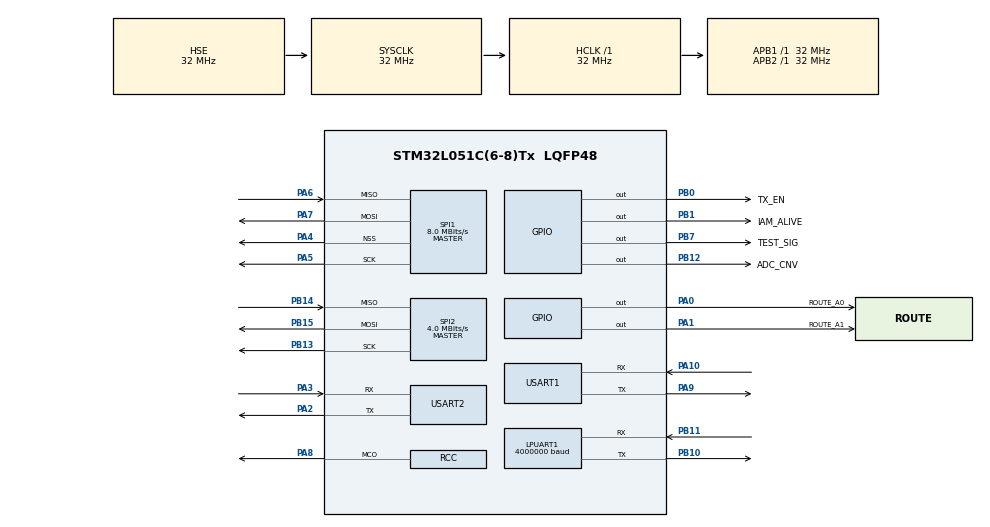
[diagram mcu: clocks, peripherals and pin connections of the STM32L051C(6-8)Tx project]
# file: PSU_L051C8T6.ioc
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LPUART1.BaudRate=4000000
LPUART1.StopBits=UART_STOPBITS_1
LPUART1.WordLength=UART_WORDLENGTH_8B
Mcu.Family=STM32L0
Mcu.Name=STM32L051C(6-8)Tx
Mcu.Package=LQFP48
NVIC.LPUART1_IRQn=true\:0\:0\:true\:false\:true\:true\:true\:true
NVIC.SPI2_IRQn=true\:0\:0\:true\:false\:true\:true\:true\:true
PA0.GPIO_Label=ROUTE_A0
PA0.GPIO_PuPd=GPIO_PULLUP
PA0.GPIO_Speed=GPIO_SPEED_FREQ_VERY_HIGH
PA0.Signal=GPIO_Output
PA1.GPIO_Label=ROUTE_A1
PA1.GPIO_PuPd=GPIO_PULLUP
PA1.GPIO_Speed=GPIO_SPEED_FREQ_VERY_HIGH
PA1.Signal=GPIO_Output
PA10.Mode=Asynchronous
PA10.Signal=USART1_RX
PA13.Mode=Serial_Wire
PA13.Signal=SYS_SWDIO
PA14.Mode=Serial_Wire
PA14.Signal=SYS_SWCLK
PA2.Mode=Asynchronous
PA2.Signal=USART2_TX
PA3.Mode=Asynchronous
PA3.Signal=USART2_RX
PA4.Mode=NSS_Signal_Hard_Output
PA4.Signal=SPI1_NSS
PA5.Mode=Full_Duplex_Master
PA5.Signal=SPI1_SCK
PA6.Mode=Full_Duplex_Master
PA6.Signal=SPI1_MISO
PA7.Mode=Full_Duplex_Master
PA7.Signal=SPI1_MOSI
PA8.Mode=Clock-out
PA8.Signal=RCC_MCO
PA9.Mode=Asynchronous
PA9.Signal=USART1_TX
PB0.GPIO_Label=TX_EN
PB0.GPIO_PuPd=GPIO_PULLUP
PB0.GPIO_Speed=GPIO_SPEED_FREQ_VERY_HIGH
PB0.PinState=GPIO_PIN_SET
PB0.Signal=GPIO_Output
PB1.GPIO_Label=IAM_ALIVE
PB1.GPIO_PuPd=GPIO_PULLUP
PB1.GPIO_Speed=GPIO_SPEED_FREQ_VERY_HIGH
PB1.Signal=GPIO_Output
PB10.Mode=Asynchronous
PB10.Signal=LPUART1_TX
PB11.Mode=Asynchronous
PB11.Signal=LPUART1_RX
PB12.GPIO_Label=ADC_CNV
PB12.GPIO_PuPd=GPIO_PULLUP
PB12.GPIO_Speed=GPIO_SPEED_FREQ_VERY_HIGH
PB12.Signal=GPIO_Output
PB13.Mode=Full_Duplex_Master
PB13.Signal=SPI2_SCK
PB14.Mode=Full_Duplex_Master
PB14.Signal=SPI2_MISO
PB15.Mode=Full_Duplex_Master
PB15.Signal=SPI2_MOSI
PB7.GPIO_FM7=__NULL
PB7.GPIO_Label=TEST_SIG
PB7.GPIO_PuPd=GPIO_NOPULL
PB7.GPIO_Speed=GPIO_SPEED_FREQ_VERY_HIGH
PB7.Signal=GPIO_Output
PC14-OSC32_IN.Mode=LSE-External-Oscillator
PC14-OSC32_IN.Signal=RCC_OSC32_IN
PC15-OSC32_OUT.Mode=LSE-External-Oscillator
PC15-OSC32_OUT.Signal=RCC_OSC32_OUT
PH0-OSC_IN.Mode=HSE-External-Clock-Source
PH0-OSC_IN.Signal=RCC_OSC_IN
ProjectManager.HeapSize=0x200
ProjectManager.StackSize=0x400
ProjectManager.TargetToolchain=STM32CubeIDE
RCC.AHBFreq_Value=32000000
RCC.APB1Freq_Value=32000000
RCC.APB1TimFreq_Value=32000000
RCC.APB2Freq_Value=32000000
RCC.APB2TimFreq_Value=32000000
RCC.HCLKFreq_Value=32000000
RCC.HSE_VALUE=32000000
RCC.HSI16_VALUE=16000000
RCC.HSI_VALUE=16000000
RCC.MSI_VALUE=2097000
RCC.PLLDIV=RCC_PLLDIV_3
RCC.PLLMUL=RCC_PLLMUL_6
RCC.PLLSourceVirtual=RCC_PLLSOURCE_HSE
RCC.SYSCLKFreq_VALUE=32000000
RCC.SYSCLKSource=RCC_SYSCLKSOURCE_HSE
RCC.VCOOutputFreq_Value=192000000
SPI1.BaudRatePrescaler=SPI_BAUDRATEPRESCALER_4
SPI1.CalculateBaudRate=8.0 MBits/s
SPI1.Direction=SPI_DIRECTION_2LINES
SPI1.Mode=SPI_MODE_MASTER
SPI1.VirtualNSS=VM_NSSHARD
SPI1.VirtualType=VM_MASTER
SPI2.BaudRatePrescaler=SPI_BAUDRATEPRESCALER_8
SPI2.CLKPhase=SPI_PHASE_1EDGE
SPI2.CLKPolarity=SPI_POLARITY_HIGH
SPI2.CalculateBaudRate=4.0 MBits/s
SPI2.DataSize=SPI_DATASIZE_16BIT
SPI2.Direction=SPI_DIRECTION_2LINES
SPI2.Mode=SPI_MODE_MASTER
SPI2.TIMode=SPI_TIMODE_DISABLE
SPI2.VirtualType=VM_MASTER
TIM6.AutoReloadPreload=TIM_AUTORELOAD_PRELOAD_DISABLE
TIM6.Period=1
TIM6.Prescaler=4-1
TIM6.TIM_MasterOutputTrigger=TIM_TRGO_RESET
USART1.VirtualMode-Asynchronous=VM_ASYNC
USART2.VirtualMode-Asynchronous=VM_ASYNC
VP_TIM6_VS_ClockSourceINT.Mode=Enable_Timer
board=custom

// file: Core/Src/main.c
/* USER CODE BEGIN Header */
/**
 ******************************************************************************
 * @file           : main.c
 * @brief          : Main program body
 ******************************************************************************
 * @attention
 *
 * Copyright (c) 2024 STMicroelectronics.
 * All rights reserved.
 *
 * This software is licensed under terms that can be found in the LICENSE file
 * in the root directory of this software component.
 * If no LICENSE file comes with this software, it is provided AS-IS.
 *
 ******************************************************************************
 */
/* USER CODE END Header */
#include "main.h"

/* USER CODE BEGIN Includes */
#include <string.h>
#include <stdio.h>
/* USER CODE END Includes */

UART_HandleTypeDef hlpuart1;
UART_HandleTypeDef huart1;
UART_HandleTypeDef huart2;

SPI_HandleTypeDef hspi1;
SPI_HandleTypeDef hspi2;

TIM_HandleTypeDef htim6;

/* USER CODE BEGIN PV */
uint16_t gSPI_Data;
uint16_t gSPI_Data1;
uint16_t gSPI_Data2;
uint8_t gPingPong_Flag = 0;

uint16_t gSPI_Buffer[1024];
int16_t gSPI_RdPtr = 0;
int16_t gSPI_WrPtr = 0;

uint16_t gSPI_RxCnt = 0;
uint8_t gSPI_RxDone = 0;
uint8_t gUART_TxDone = 1;

/* USER CODE END PV */

void SystemClock_Config(void);
static void MX_GPIO_Init(void);
static void MX_LPUART1_UART_Init(void);
static void MX_USART1_UART_Init(void);
static void MX_USART2_UART_Init(void);
static void MX_SPI1_Init(void);
static void MX_SPI2_Init(void);
static void MX_TIM6_Init(void);

/* USER CODE BEGIN 0 */
//Clock Pre-scale=8-1
//Clock Period=2
//(Main Clock) / (Clock Pre-scale) * (Clock Period)
//32MHz/8=4MHz.  (f=4MHz,t=250nS)
//500nS
void My_Delay_us(uint32_t nus) {
	uint16_t differ = 0xFFFF - nus - 5;
	__HAL_TIM_SetCounter(&htim6, differ);
	HAL_TIM_Base_Start(&htim6);
	while (differ < (0xFFFF - 5)) {
		differ = __HAL_TIM_GetCounter(&htim6);
	}
	HAL_TIM_Base_Stop(&htim6);
}

#define NOP_RATIO 1 //change by your demand.
void My_NOP_Delay(uint32_t cnt) {
	cnt = cnt * NOP_RATIO;
	while (cnt--) {
		__NOP();
	}
}

/* USER CODE END 0 */

int main(void)
{

  /* USER CODE BEGIN 1 */
	char buffer_string[128];
	int iSampleCnt=0;
  /* USER CODE END 1 */

  /* MCU Configuration--------------------------------------------------------*/

  /* Reset of all peripherals, Initializes the Flash interface and the Systick. */
  HAL_Init();

  /* Configure the system clock */
  SystemClock_Config();

  /* Initialize all configured peripherals */
  MX_GPIO_Init();
  MX_LPUART1_UART_Init();
  MX_USART1_UART_Init();
  MX_USART2_UART_Init();
  MX_SPI1_Init();
  MX_SPI2_Init();
  MX_TIM6_Init();
  /* USER CODE BEGIN 2 */
	//Fiber_UART  ---- FPGA 1# UART. (Infra-red Image Sensor)
	//            ---- FPGA 2# UART. (Visible-Light Image Sensor)
	//            ---- MCU LPUART1. (Photo-voltaic Cell: Power Supply Unit)
	//In TMR project, route Fiber_UART to MCU LPUART.
	HAL_GPIO_WritePin(GPIOA, ROUTE_A0_Pin | ROUTE_A1_Pin, GPIO_PIN_RESET);

	//Using PSU 1.8V to 3.3V Level Translator to dump data from Lattice 1.8V to TTL-USB(3.3V).
//	HAL_GPIO_WritePin(GPIOA, ROUTE_A1_Pin, GPIO_PIN_SET);
//	HAL_GPIO_WritePin(GPIOA, ROUTE_A0_Pin, GPIO_PIN_RESET);

	//IAM_ALIVE=1.
	HAL_GPIO_WritePin(GPIOB, IAM_ALIVE_Pin, GPIO_PIN_SET);
  /* USER CODE END 2 */

  /* Infinite loop */
  /* USER CODE BEGIN WHILE */
	//Step1: SDI (always keeps HIGH).
	uint16_t SDI_Data1 = 0xFFFF;
	//Transmit an amount of data in blocking mode.
	HAL_SPI_Transmit(&hspi2, (uint8_t*) &SDI_Data1, 1, 0xFFFF);
	HAL_Delay(1);

	//Enable Tx Power.
	HAL_GPIO_WritePin(TX_EN_GPIO_Port, TX_EN_Pin, GPIO_PIN_RESET);

#if 1
	while(1)
	{
		uint8_t i;
		//Step2: Pull up CNV to generate a rising edge.
		//HAL_GPIO_WritePin(GPIOB, ADC_CNV_Pin, GPIO_PIN_SET);
		GPIOB->BSRR |= ADC_CNV_Pin; //Using Register Operation replace of HAL library.

		//Step3: Waiting ADC Conversion time:>=9.5uS.
		//My_Delay_us(5); //HAL_Delay(1) Depreciated, it takes up much time.
		__NOP(); __NOP(); __NOP(); __NOP(); __NOP(); //2.2uS*5=11uS.
		//My_NOP_Delay(5);

		//Step4:Pull-down CNV, start to read data.
		//HAL_GPIO_WritePin(GPIOB, ADC_CNV_Pin, GPIO_PIN_RESET);
		GPIOB->BRR |= ADC_CNV_Pin; //Using Register Operation replace of HAL library.
		//My_Delay_us(1); //HAL_Delay(1) Depreciated, it takes up much time.
		//__NOP();
		//My_NOP_Delay(1);

		//Step5: Read Data In.
		//HAL_SPI_Receive_IT(&hspi2,(uint8_t*)gBuffer_SPI,1);
		//HAL_SPI_TransmitReceive_IT(SPI_HandleTypeDef *hspi, uint8_t *pTxData, uint8_t *pRxData, uint16_t Size)
		//HAL_SPI_TransmitReceive_IT(&hspi2, ///<
		//		(uint8_t*) &SDI_Data1, ///<
		//		(uint8_t*) &gSPI_Buffer1[gSPI_WrPtr1++], ///<
		//		2);
		hspi2.Instance->DR=0xFFFF; //MOSI keeps HIGH while reading MISO.
		while(!(hspi2.Instance->SR & SPI_FLAG_RXNE))
		{
			//Waiting for Receive Buffer Not Empty.
		}
		//gSPI_Buffer[gSPI_WrPtr]=hspi2.Instance->DR; //Read
		//gSPI_WrPtr=(gSPI_WrPtr>=1023)?(0):(gSPI_WrPtr++); //Loop buffer to avoid overflow.
		gSPI_Data=hspi2.Instance->DR; //Read

		//Test Code.
//		buffer_string[0]=0x20;
//		buffer_string[1]=0x24;
//		buffer_string[2]=0x08;
//		buffer_string[3]=0x06;
//		buffer_string[4]=0x16;
//		buffer_string[5]=0x33;
//		buffer_string[6]=0x11;
		iSampleCnt++;
		sprintf((char*)buffer_string,"%s, ADC:%d, CNT: %d\r\n","Technology Leading The World",gSPI_Data,iSampleCnt);
		for(i=0;i<strlen(buffer_string);i++)
		{
			hlpuart1.Instance->TDR=buffer_string[i];
			//Waiting for Transmit Data Register Empty.
			while(!(hlpuart1.Instance->ISR & USART_ISR_TXE))
			{}
		}
		HAL_Delay(10);

		/*
		//Using sprintf().
		//sprintf((char*)buffer_string,"$%d;",gSPI_Data);
		for(i=0;i<strlen(buffer_string);i++)
		{
			hlpuart1.Instance->TDR=buffer_string[i];
			//Waiting for Transmit Data Register Empty.
			while(!(hlpuart1.Instance->ISR & USART_ISR_TXE))
			{}
		}
		*/
#if 0
		//Transmit $(0x24) Symbol.
		hlpuart1.Instance->TDR='$';
		//Waiting for Transmit Data Register Empty.
		while(!(hlpuart1.Instance->ISR & USART_ISR_TXE))
		{}

		//Transmit 16-bits ADC Data - HIGH Byte.
		hlpuart1.Instance->TDR=(gSPI_Data>>8);
		//Waiting for Transmit Data Register Empty.
		while(!(hlpuart1.Instance->ISR & USART_ISR_TXE))
		{}

		//Transmit 16-bits ADC Data - LOW Byte.
		hlpuart1.Instance->TDR=(gSPI_Data&0x00FF);
		//Waiting for Transmit Data Register Empty.
		while(!(hlpuart1.Instance->ISR & USART_ISR_TXE))
		{}

		//Transmit ;(0x3B) Symbol.
		hlpuart1.Instance->TDR='!';
		//Waiting for Transmit Data Register Empty.
		while(!(hlpuart1.Instance->ISR & USART_ISR_TXE))
		{}
#endif
	}
#endif

    /* USER CODE END WHILE */

}

void SystemClock_Config(void)
{
  RCC_OscInitTypeDef RCC_OscInitStruct = {0};
  RCC_ClkInitTypeDef RCC_ClkInitStruct = {0};
  RCC_PeriphCLKInitTypeDef PeriphClkInit = {0};

  /** Configure the main internal regulator output voltage
  */
  __HAL_PWR_VOLTAGESCALING_CONFIG(PWR_REGULATOR_VOLTAGE_SCALE1);

  /** Initializes the RCC Oscillators according to the specified parameters
  * in the RCC_OscInitTypeDef structure.
  */
  RCC_OscInitStruct.OscillatorType = RCC_OSCILLATORTYPE_HSE;
  RCC_OscInitStruct.HSEState = RCC_HSE_BYPASS;
  RCC_OscInitStruct.PLL.PLLState = RCC_PLL_NONE;
  if (HAL_RCC_OscConfig(&RCC_OscInitStruct) != HAL_OK)
  {
    Error_Handler();
  }

  /** Initializes the CPU, AHB and APB buses clocks
  */
  RCC_ClkInitStruct.ClockType = RCC_CLOCKTYPE_HCLK|RCC_CLOCKTYPE_SYSCLK
                              |RCC_CLOCKTYPE_PCLK1|RCC_CLOCKTYPE_PCLK2;
  RCC_ClkInitStruct.SYSCLKSource = RCC_SYSCLKSOURCE_HSE;
  RCC_ClkInitStruct.AHBCLKDivider = RCC_SYSCLK_DIV1;
  RCC_ClkInitStruct.APB1CLKDivider = RCC_HCLK_DIV1;
  RCC_ClkInitStruct.APB2CLKDivider = RCC_HCLK_DIV1;

  if (HAL_RCC_ClockConfig(&RCC_ClkInitStruct, FLASH_LATENCY_1) != HAL_OK)
  {
    Error_Handler();
  }
  PeriphClkInit.PeriphClockSelection = RCC_PERIPHCLK_USART1|RCC_PERIPHCLK_USART2
                              |RCC_PERIPHCLK_LPUART1;
  PeriphClkInit.Usart1ClockSelection = RCC_USART1CLKSOURCE_PCLK2;
  PeriphClkInit.Usart2ClockSelection = RCC_USART2CLKSOURCE_PCLK1;
  PeriphClkInit.Lpuart1ClockSelection = RCC_LPUART1CLKSOURCE_PCLK1;
  if (HAL_RCCEx_PeriphCLKConfig(&PeriphClkInit) != HAL_OK)
  {
    Error_Handler();
  }
  HAL_RCC_MCOConfig(RCC_MCO1, RCC_MCO1SOURCE_SYSCLK, RCC_MCODIV_1);
}

static void MX_LPUART1_UART_Init(void)
{

  hlpuart1.Instance = LPUART1;
  hlpuart1.Init.BaudRate = 4000000;
  hlpuart1.Init.WordLength = UART_WORDLENGTH_8B;
  hlpuart1.Init.StopBits = UART_STOPBITS_1;
  hlpuart1.Init.Parity = UART_PARITY_NONE;
  hlpuart1.Init.Mode = UART_MODE_TX_RX;
  hlpuart1.Init.HwFlowCtl = UART_HWCONTROL_NONE;
  hlpuart1.Init.OneBitSampling = UART_ONE_BIT_SAMPLE_DISABLE;
  hlpuart1.AdvancedInit.AdvFeatureInit = UART_ADVFEATURE_NO_INIT;
  if (HAL_UART_Init(&hlpuart1) != HAL_OK)
  {
    Error_Handler();
  }

}

static void MX_USART1_UART_Init(void)
{

  huart1.Instance = USART1;
  huart1.Init.BaudRate = 115200;
  huart1.Init.WordLength = UART_WORDLENGTH_8B;
  huart1.Init.StopBits = UART_STOPBITS_1;
  huart1.Init.Parity = UART_PARITY_NONE;
  huart1.Init.Mode = UART_MODE_TX_RX;
  huart1.Init.HwFlowCtl = UART_HWCONTROL_NONE;
  huart1.Init.OverSampling = UART_OVERSAMPLING_16;
  huart1.Init.OneBitSampling = UART_ONE_BIT_SAMPLE_DISABLE;
  huart1.AdvancedInit.AdvFeatureInit = UART_ADVFEATURE_NO_INIT;
  if (HAL_UART_Init(&huart1) != HAL_OK)
  {
    Error_Handler();
  }

}

static void MX_USART2_UART_Init(void)
{

  huart2.Instance = USART2;
  huart2.Init.BaudRate = 115200;
  huart2.Init.WordLength = UART_WORDLENGTH_8B;
  huart2.Init.StopBits = UART_STOPBITS_1;
  huart2.Init.Parity = UART_PARITY_NONE;
  huart2.Init.Mode = UART_MODE_TX_RX;
  huart2.Init.HwFlowCtl = UART_HWCONTROL_NONE;
  huart2.Init.OverSampling = UART_OVERSAMPLING_16;
  huart2.Init.OneBitSampling = UART_ONE_BIT_SAMPLE_DISABLE;
  huart2.AdvancedInit.AdvFeatureInit = UART_ADVFEATURE_NO_INIT;
  if (HAL_UART_Init(&huart2) != HAL_OK)
  {
    Error_Handler();
  }

}

static void MX_SPI1_Init(void)
{

  /* SPI1 parameter configuration*/
  hspi1.Instance = SPI1;
  hspi1.Init.Mode = SPI_MODE_MASTER;
  hspi1.Init.Direction = SPI_DIRECTION_2LINES;
  hspi1.Init.DataSize = SPI_DATASIZE_8BIT;
  hspi1.Init.CLKPolarity = SPI_POLARITY_LOW;
  hspi1.Init.CLKPhase = SPI_PHASE_1EDGE;
  hspi1.Init.NSS = SPI_NSS_HARD_OUTPUT;
  hspi1.Init.BaudRatePrescaler = SPI_BAUDRATEPRESCALER_4;
  hspi1.Init.FirstBit = SPI_FIRSTBIT_MSB;
  hspi1.Init.TIMode = SPI_TIMODE_DISABLE;
  hspi1.Init.CRCCalculation = SPI_CRCCALCULATION_DISABLE;
  hspi1.Init.CRCPolynomial = 7;
  if (HAL_SPI_Init(&hspi1) != HAL_OK)
  {
    Error_Handler();
  }

}

static void MX_SPI2_Init(void)
{

  /* SPI2 parameter configuration*/
  hspi2.Instance = SPI2;
  hspi2.Init.Mode = SPI_MODE_MASTER;
  hspi2.Init.Direction = SPI_DIRECTION_2LINES;
  hspi2.Init.DataSize = SPI_DATASIZE_16BIT;
  hspi2.Init.CLKPolarity = SPI_POLARITY_HIGH;
  hspi2.Init.CLKPhase = SPI_PHASE_1EDGE;
  hspi2.Init.NSS = SPI_NSS_SOFT;
  hspi2.Init.BaudRatePrescaler = SPI_BAUDRATEPRESCALER_8;
  hspi2.Init.FirstBit = SPI_FIRSTBIT_MSB;
  hspi2.Init.TIMode = SPI_TIMODE_DISABLE;
  hspi2.Init.CRCCalculation = SPI_CRCCALCULATION_DISABLE;
  hspi2.Init.CRCPolynomial = 7;
  if (HAL_SPI_Init(&hspi2) != HAL_OK)
  {
    Error_Handler();
  }

}

static void MX_TIM6_Init(void)
{

  TIM_MasterConfigTypeDef sMasterConfig = {0};

  htim6.Instance = TIM6;
  htim6.Init.Prescaler = 4-1;
  htim6.Init.CounterMode = TIM_COUNTERMODE_UP;
  htim6.Init.Period = 1;
  htim6.Init.AutoReloadPreload = TIM_AUTORELOAD_PRELOAD_DISABLE;
  if (HAL_TIM_Base_Init(&htim6) != HAL_OK)
  {
    Error_Handler();
  }
  sMasterConfig.MasterOutputTrigger = TIM_TRGO_RESET;
  sMasterConfig.MasterSlaveMode = TIM_MASTERSLAVEMODE_DISABLE;
  if (HAL_TIMEx_MasterConfigSynchronization(&htim6, &sMasterConfig) != HAL_OK)
  {
    Error_Handler();
  }

}

static void MX_GPIO_Init(void)
{
  GPIO_InitTypeDef GPIO_InitStruct = {0};

  /* GPIO Ports Clock Enable */
  __HAL_RCC_GPIOC_CLK_ENABLE();
  __HAL_RCC_GPIOH_CLK_ENABLE();
  __HAL_RCC_GPIOA_CLK_ENABLE();
  __HAL_RCC_GPIOB_CLK_ENABLE();

  /*Configure GPIO pin Output Level */
  HAL_GPIO_WritePin(GPIOA, ROUTE_A0_Pin|ROUTE_A1_Pin, GPIO_PIN_RESET);

  /*Configure GPIO pin Output Level */
  HAL_GPIO_WritePin(TX_EN_GPIO_Port, TX_EN_Pin, GPIO_PIN_SET);

  /*Configure GPIO pin Output Level */
  HAL_GPIO_WritePin(GPIOB, IAM_ALIVE_Pin|ADC_CNV_Pin|TEST_SIG_Pin, GPIO_PIN_RESET);

  /*Configure GPIO pins : ROUTE_A0_Pin ROUTE_A1_Pin */
  GPIO_InitStruct.Pin = ROUTE_A0_Pin|ROUTE_A1_Pin;
  GPIO_InitStruct.Mode = GPIO_MODE_OUTPUT_PP;
  GPIO_InitStruct.Pull = GPIO_PULLUP;
  GPIO_InitStruct.Speed = GPIO_SPEED_FREQ_VERY_HIGH;
  HAL_GPIO_Init(GPIOA, &GPIO_InitStruct);

  /*Configure GPIO pins : TX_EN_Pin IAM_ALIVE_Pin ADC_CNV_Pin */
  GPIO_InitStruct.Pin = TX_EN_Pin|IAM_ALIVE_Pin|ADC_CNV_Pin;
  GPIO_InitStruct.Mode = GPIO_MODE_OUTPUT_PP;
  GPIO_InitStruct.Pull = GPIO_PULLUP;
  GPIO_InitStruct.Speed = GPIO_SPEED_FREQ_VERY_HIGH;
  HAL_GPIO_Init(GPIOB, &GPIO_InitStruct);

  /*Configure GPIO pin : PA8 */
  GPIO_InitStruct.Pin = GPIO_PIN_8;
  GPIO_InitStruct.Mode = GPIO_MODE_AF_PP;
  GPIO_InitStruct.Pull = GPIO_NOPULL;
  GPIO_InitStruct.Speed = GPIO_SPEED_FREQ_LOW;
  GPIO_InitStruct.Alternate = GPIO_AF0_MCO;
  HAL_GPIO_Init(GPIOA, &GPIO_InitStruct);

  /*Configure GPIO pin : TEST_SIG_Pin */
  GPIO_InitStruct.Pin = TEST_SIG_Pin;
  GPIO_InitStruct.Mode = GPIO_MODE_OUTPUT_PP;
  GPIO_InitStruct.Pull = GPIO_NOPULL;
  GPIO_InitStruct.Speed = GPIO_SPEED_FREQ_VERY_HIGH;
  HAL_GPIO_Init(TEST_SIG_GPIO_Port, &GPIO_InitStruct);

}

void Error_Handler(void)
{
	__disable_irq();
	while (1) {
	}
}
